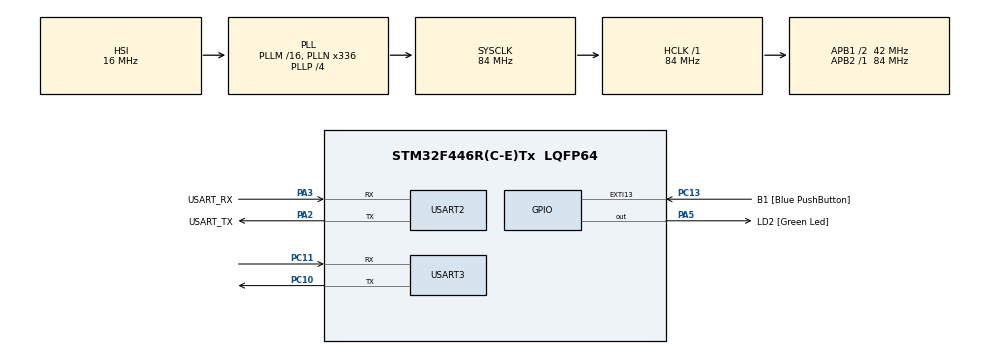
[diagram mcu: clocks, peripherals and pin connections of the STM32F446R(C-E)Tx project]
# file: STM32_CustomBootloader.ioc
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Mcu.Family=STM32F4
Mcu.Name=STM32F446R(C-E)Tx
Mcu.Package=LQFP64
NVIC.PriorityGroup=NVIC_PRIORITYGROUP_0
PA13.GPIO_Label=TMS
PA13.Mode=Serial_Wire
PA13.Signal=SYS_JTMS-SWDIO
PA14.GPIO_Label=TCK
PA14.Mode=Serial_Wire
PA14.Signal=SYS_JTCK-SWCLK
PA2.GPIO_Label=USART_TX
PA2.Mode=Asynchronous
PA2.Signal=USART2_TX
PA3.GPIO_Label=USART_RX
PA3.Mode=Asynchronous
PA3.Signal=USART2_RX
PA5.GPIO_Label=LD2 [Green Led]
PA5.Signal=GPIO_Output
PB3.GPIO_Label=SWO
PB3.Signal=SYS_JTDO-SWO
PC10.Mode=Asynchronous
PC10.Signal=USART3_TX
PC11.Mode=Asynchronous
PC11.Signal=USART3_RX
PC13.GPIO_Label=B1 [Blue PushButton]
PC13.GPIO_ModeDefaultEXTI=GPIO_MODE_IT_FALLING
PC13.Signal=GPXTI13
PC14-OSC32_IN.Mode=LSE-External-Oscillator
PC14-OSC32_IN.Signal=RCC_OSC32_IN
PC15-OSC32_OUT.Mode=LSE-External-Oscillator
PC15-OSC32_OUT.Signal=RCC_OSC32_OUT
PH0-OSC_IN.Mode=HSE-External-Oscillator
PH0-OSC_IN.Signal=RCC_OSC_IN
PH1-OSC_OUT.Mode=HSE-External-Oscillator
PH1-OSC_OUT.Signal=RCC_OSC_OUT
ProjectManager.HeapSize=0x200
ProjectManager.StackSize=0x400
ProjectManager.TargetToolchain=STM32CubeIDE
RCC.48MHZClocksFreq_Value=84000000
RCC.AHBFreq_Value=84000000
RCC.APB1CLKDivider=RCC_HCLK_DIV2
RCC.APB1Freq_Value=42000000
RCC.APB1TimFreq_Value=84000000
RCC.APB2Freq_Value=84000000
RCC.APB2TimFreq_Value=84000000
RCC.CortexFreq_Value=84000000
RCC.FLatency-AdvancedSettings=FLASH_LATENCY_2
RCC.HCLKFreq_Value=84000000
RCC.HSE_VALUE=8000000
RCC.HSI_VALUE=16000000
RCC.PLLN=336
RCC.PLLP=RCC_PLLP_DIV4
RCC.SYSCLKFreq_VALUE=84000000
RCC.SYSCLKSource=RCC_SYSCLKSOURCE_PLLCLK
RCC.USBFreq_Value=168000000
RCC.VCOOutputFreq_Value=336000000
USART2.VirtualMode=VM_ASYNC
USART3.VirtualMode=VM_ASYNC
VP_CRC_VS_CRC.Mode=CRC_Activate
board=NUCLEO-F446RE

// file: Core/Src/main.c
/* USER CODE BEGIN Header */
/**
  ******************************************************************************
  * @file           : main.c
  * @brief          : Main program body
  ******************************************************************************
  * @attention
  *
  * <h2><center>&copy; Copyright (c) 2021 STMicroelectronics.
  * All rights reserved.</center></h2>
  *
  * This software component is licensed by ST under BSD 3-Clause license,
  * the "License"; You may not use this file except in compliance with the
  * License. You may obtain a copy of the License at:
  *                        opensource.org/licenses/BSD-3-Clause
  *
  ******************************************************************************
  */
/* USER CODE END Header */
#include "main.h"

/* USER CODE BEGIN PTD */

/*
 * All the supported commands are packed here
 */
uint8_t supported_cmnds[] = {
		BL_GET_VER,
		BL_GET_HELP,
		BL_GET_RDP_STATUS,
		BL_GET_CID,
		BL_GO_TO_ADDR,
		BL_FLASH_ERASE,
		BL_MEM_WRITE,
		BL_EN_R_W_PROTECT,
		BL_MEM_READ,
		BL_MEM_WRITE
};

/* USER CODE END PTD */

/* USER CODE BEGIN PM */
#define DEBUG_SUPPORT
#define D_UART (&huart3)
#define C_UART (&huart2)

//#define BL_ACK	0xA5
//#define BL_NACK	0x5A

#define BL_Rx_LEN 200
uint8_t bl_rx_buffer[BL_Rx_LEN];

// Uncomment below line to enable formated printf support

/* USER CODE END PM */

CRC_HandleTypeDef hcrc;

UART_HandleTypeDef huart2;
UART_HandleTypeDef huart3;

void SystemClock_Config(void);
static void MX_GPIO_Init(void);
static void MX_USART2_UART_Init(void);
static void MX_USART3_UART_Init(void);
static void MX_CRC_Init(void);
/* USER CODE BEGIN PFP */

void  bootloader_uart_read_data();
void  bootloader_jump_to_user_app();

/* USER CODE END PFP */

/* USER CODE BEGIN 0 */

static void printMsg(char *format,...);

static void printMsg(char *format,...)
{
#ifdef DEBUG_SUPPORT
	char str[80];

	/*extract the arg list using VA APIs */
	va_list args;
	va_start(args, format);
	vsprintf(str, format, args);

	HAL_GPIO_WritePin(GPIOA, GPIO_PIN_5, RESET);
	HAL_GPIO_WritePin(GPIOA, GPIO_PIN_5, SET);
	HAL_Delay(10);
	HAL_GPIO_WritePin(GPIOA, GPIO_PIN_5, RESET);

	HAL_UART_Transmit(D_UART, (uint8_t *)str, strlen(str), HAL_MAX_DELAY);

	va_end(args);
#endif //DEBUG_SUPPORT
}

/* USER CODE END 0 */

int main(void)
{

  /* MCU Configuration--------------------------------------------------------*/

  /* Reset of all peripherals, Initializes the Flash interface and the Systick. */
  HAL_Init();

  /* Configure the system clock */
  //SystemClock_Config();

  /* Initialize all configured peripherals */
  MX_GPIO_Init();
  MX_USART2_UART_Init();
  MX_USART3_UART_Init();
  MX_CRC_Init();

  if( (HAL_GPIO_ReadPin(GPIOC, GPIO_PIN_13)) == GPIO_PIN_RESET)
  {
	  printMsg("\nBOOTLOADER JUMPING TO READ DATA\n\n\r");
	  bootloader_uart_read_data();

  }else{

	  printMsg("\nBOOTLOADER JUMPING TO USER APPLICATION\n\n\r");
	  bootloader_jump_to_user_app();
  }

}

void  bootloader_uart_read_data()
{

	uint8_t rcv_len = 0;
	while(1)
	{
		memset(bl_rx_buffer,0,200);

		//Here we will read and decode the commands coming from host
		//First Read Only one byte from the host, which is the "length" field of the command
		HAL_UART_Receive(C_UART, bl_rx_buffer, 1, HAL_MAX_DELAY);
		rcv_len = bl_rx_buffer[0];

		HAL_UART_Receive(C_UART, &bl_rx_buffer[1], rcv_len, HAL_MAX_DELAY);

		MX_CRC_Init();

		switch(bl_rx_buffer[1])
		{
		case BL_GET_VER :Bootloader_GET_VER(bl_rx_buffer);
						 break;

		case BL_GET_HELP:Bootloader_GET_HELP(bl_rx_buffer);
						 break;

		case BL_GET_CID:Bootloader_GET_CID(bl_rx_buffer);
						 break;

		case BL_GET_RDP_STATUS:Bootloader_GET_RDP_STATUS(bl_rx_buffer);
						 break;

		case BL_GO_TO_ADDR:Bootloader_GO_TO_ADDR(bl_rx_buffer);
						 break;

		case BL_FLASH_ERASE:Bootloader_FLASH_ERASE(bl_rx_buffer);
						 break;

		case BL_MEM_WRITE:Bootloader_MEM_WRITE(bl_rx_buffer);
						 break;

		case BL_EN_R_W_PROTECT:Bootloader_EN_R_W_PROTECT(bl_rx_buffer);
						 break;

		case BL_MEM_READ:Bootloader_MEM_READ(bl_rx_buffer);
						 break;

		case BL_READ_SECTOR_STATUS:Bootloader_READ_SECTOR_STATUS(bl_rx_buffer);
						 break;

		case BL_OTP_READ:Bootloader_OTP_READ(bl_rx_buffer);
						 break;

		case BL_DIS_R_W_PROTECT:Bootloader_DIS_R_W_PROTECT(bl_rx_buffer);
						 break;

		default : printMsg("BL_UART_READ : received invalid code");
		}
	}
}

/*
 * This code jumps to user application if the user button
 * is not pressed after reseting the board
 * Here we jump to FLASH_SECTOR2_BASE_ADDRESS as the Base Address
 * for the USER app
 */
void  bootloader_jump_to_user_app()
{
	//Function ptr to hold the address of the reset handler of the USER application
	void (*app_reset_handler)(void);
	printMsg("BL_DEBUG_MSG : Bootloader_jump_to_user_app\n\r");

	//1. Here we configure the MSP by reading the value stored at FLASH_SECTOR2_BASE_ADDRESS
	volatile uint32_t MSP_VALUE = *(volatile uint32_t *)FLASH_SECTOR2_BASE_ADDRESS;
	printMsg("BL_DEBUG_MSG : MSP value : %#x\n\r", MSP_VALUE);

	//2. Now we set the MSP to the value pointed to by FLASH_SECTOR2_BASE_ADDRESS using a CMSIS API
	__set_MSP(MSP_VALUE);

	/*
	 * 3. Now we fetch the RESET HANDLER fo the USER application
	 * from the location (FLASH_SECTOR2_BASE_ADDRESS + 4)
	 */
	volatile uint32_t RESET_HANDLER = *(uint32_t *)(FLASH_SECTOR2_BASE_ADDRESS + 4);
 	printMsg("BL_DEBUG_MSG : RESET HANDLER = %#x \n\r", RESET_HANDLER);

	app_reset_handler = (void *)RESET_HANDLER;   //(void *)*(uint32_t *)(FLASH_SECTOR2_BASE_ADDRESS + 4);  If other things don't work use this twerk

	//4. Now we jump to the USER application by calling the USER's RESET HANDLER
	//which in turn calls the USER application
	app_reset_handler();

}
/* USER CODE BEGIN 4 */

/***************************** Implementation of the Bootloader specified function calls ****************************************/

void Bootloader_GET_VER(uint8_t *pRxBuffer)
{
	uint8_t bl_version;

	//1. verify the checksum
	printMsg("BL_DEBUG_MSG : bootloader_handle_getver_cmd\n\r");

	//2.Total command packet length
	uint32_t packt_len = pRxBuffer[0] + 1;

	//3. Shell out CRC from host from the received buffer
	uint32_t Host_CRC = *((uint32_t *)(pRxBuffer + packt_len - 4));

	if((bootloader_verify_crc(pRxBuffer, packt_len - 4, Host_CRC)) == CRC_VERIFY_SUCCESS)
	{
		printMsg("BL_DEBUG_MSG : checksum success !!\n\r");

		//checksum is correct
		bootloader_send_ack(pRxBuffer[0], 1);
		bl_version = get_bootloader_version();

		printMsg("BL_DEBUG_MSG : BL_VER : %d %#x\n\r", bl_version, bl_version);
		bootloader_uart_write_data(&bl_version,1);

	}else{
		printMsg("BL_DEBUG_MSG : checksum fail !!\n\r");

		//checksum is wrong send nack
		bootloader_send_nack();
	}
}

void Bootloader_GET_HELP(uint8_t *pRxBuffer)
{
	//Send the number of commands supported by the bootloader

	printMsg("BL_DEBUG_MSG : bootloader_get_help\n\r");

	//1. Extract packet length
	uint32_t packt_len = pRxBuffer[0] + 1;

	//2. Extract the CRC sent by HOST
	uint32_t Host_CRC = *((uint32_t *)(pRxBuffer + packt_len - 4));

	//3. Verify CRC
	if(bootloader_verify_crc(pRxBuffer, packt_len - 4, Host_CRC) == CRC_VERIFY_SUCCESS)
	{
		//Checksum is correct
		printMsg("BL_DEBUG_MSG : checksum success !!\n\r");

		//Send ACK to HOST program
		bootloader_send_ack(*pRxBuffer, 10);

		bootloader_uart_write_data(supported_cmnds, sizeof(supported_cmnds));
	}else
	{
		//Checksum failure
		printMsg("BL_DEBUG_MSG : checksum fail !!\n\r");

		//Send NACK to HOST
		bootloader_send_nack();
	}

}

void Bootloader_GET_CID(uint8_t *pRxBuffer)
{
	//Send the number of commands supported by the bootloader

	printMsg("BL_DEBUG_MSG : bootloader_get_CID\n\r");

	//1. Extract packet length
	uint32_t packt_len = pRxBuffer[0] + 1;

	//2. Extract the CRC sent by HOST
	uint32_t Host_CRC = *((uint32_t *)(pRxBuffer + packt_len - 4));

	//3. Verify CRC
	if(bootloader_verify_crc(pRxBuffer, packt_len - 4, Host_CRC) == CRC_VERIFY_SUCCESS)
	{
		//Checksum is correct
		printMsg("BL_DEBUG_MSG : checksum success !!\n\r");

		//Send ACK to HOST program
		bootloader_send_ack(*pRxBuffer, 2);

		//Get the CID
		volatile uint32_t CID = get_CID_info();

		printMsg("BL_DEBUG_MSG : CID_Number : %ld %#x\n\r", CID, CID);

		//send to the host command
		bootloader_uart_write_data(&CID, 2);

	}else
	{
		//Checksum failure
		printMsg("BL_DEBUG_MSG : checksum fail !!\n\r");

		//Send NACK to HOST
		bootloader_send_nack();
	}

}
void Bootloader_GET_RDP_STATUS(uint8_t *pRxBuffer)
{
	//Send the number of commands supported by the bootloader

	printMsg("BL_DEBUG_MSG : bootloader_get_RDP_status\n\r");

	//1. Extract packet length
	uint32_t packt_len = pRxBuffer[0] + 1;

	//2. Extract the CRC sent by HOST
	uint32_t Host_CRC = *((uint32_t *)(pRxBuffer + packt_len - 4));

	//3. Verify CRC
	if(bootloader_verify_crc(pRxBuffer, packt_len - 4, Host_CRC) == CRC_VERIFY_SUCCESS)
	{
		//Checksum is correct
		printMsg("BL_DEBUG_MSG : checksum success !!\n\r");

		//Send ACK to HOST program
		bootloader_send_ack(*pRxBuffer, 1);

		//Get the CID
		volatile uint8_t RDP_Status = get_RDP_info();

		printMsg("BL_DEBUG_MSG : RDP_Number : %ld %#x\n\r", RDP_Status, RDP_Status);

		//send to the host command
		bootloader_uart_write_data(&RDP_Status, 1);

	}else
	{
		//Checksum failure
		printMsg("BL_DEBUG_MSG : checksum fail !!\n\r");

		//Send NACK to HOST
		bootloader_send_nack();
	}

}

void Bootloader_GO_TO_ADDR(uint8_t *pRxBuffer)
{
	//Send the number of commands supported by the bootloader
	printMsg("BL_DEBUG_MSG : bootloader_go_to_addr\n\r");

	//1. Extract packet length
	uint32_t packt_len = pRxBuffer[0] + 1;

	//2. Extract the CRC sent by HOST
	uint32_t Host_CRC = *((uint32_t *)(pRxBuffer + packt_len - 4));

	//3. Verify CRC
	if(bootloader_verify_crc(pRxBuffer, packt_len - 4, Host_CRC) == CRC_VERIFY_SUCCESS)
	{
		//Checksum is correct
		printMsg("BL_DEBUG_MSG : checksum success !!\n\r");

		//Send ACK to HOST program
		bootloader_send_ack(*pRxBuffer, 1);

		//shell out the address sent by HOST
		volatile uint32_t goto_addr = *((uint32_t*)(pRxBuffer + 2));

		printMsg("BL_DEBUG_MSG : Jump address %#x\n\r", goto_addr);

		//Check address validity; jump to address if address valid
		if(!check_validity(goto_addr))
		{
			uint8_t validity = (uint8_t)ADDRESS_VALID;
			bootloader_uart_write_data(&validity, 1);

			//address is valid
			printMsg("BL_DEBUG_MSG : Address valid !!\n\r");

			goto_addr += 1; //T-bit made 1 here

			void (*jump_to_addr)(void) = (void *)goto_addr;

			//jumping to address
			printMsg("BL_DEBUG_MSG : jumping to address\n\r");
			jump_to_addr();

			pRxBuffer[0] = 0;
			bootloader_uart_write_data(pRxBuffer, 1);

		}else
		{
			uint8_t validity = (uint8_t)ADDRESS_INVALID;
			bootloader_uart_write_data(&validity, 1);

			//address invalid
			printMsg("BL_DEBUG_MSG : Address invalid!!\n\r");
		}

	}else
	{
		//Checksum failure
		printMsg("BL_DEBUG_MSG : checksum fail !!\n\r");

		//Send NACK to HOST
		bootloader_send_nack();
	}

}
void Bootloader_FLASH_ERASE(uint8_t *pRxBuffer)
{
	//1. verify the checksum
	printMsg("BL_DEBUG_MSG : bootloader_FLASH_ERASE\n\r");

	//2.Total command packet length
	uint32_t packt_len = pRxBuffer[0] + 1;

	//3. Shell out CRC from host from the received buffer
	uint32_t Host_CRC = *((uint32_t *)(pRxBuffer + packt_len - 4));

	if((bootloader_verify_crc(pRxBuffer, packt_len - 4, Host_CRC)) == CRC_VERIFY_SUCCESS)
	{
		printMsg("BL_DEBUG_MSG : checksum success !!\n\r");

		//checksum is correct
		bootloader_send_ack(pRxBuffer[0], 1);

		uint32_t err_no;

		err_no = flash_eraser(pRxBuffer[2], pRxBuffer[3]);

		bootloader_uart_write_data(&err_no, sizeof(err_no));

		HAL_GPIO_TogglePin(GPIOA, GPIO_PIN_5);

	}else{
		printMsg("BL_DEBUG_MSG : checksum fail !!\n\r");

		//checksum is wrong send nack
		bootloader_send_nack();
	}

}
void Bootloader_MEM_WRITE(uint8_t *pRxBuffer)
{
	//Save the memory address in a variable
	uint32_t Base_mem_addr = *((uint32_t *)(pRxBuffer + 2));
	uint8_t payload_len = pRxBuffer[6];

	//1. verify the checksum
	printMsg("BL_DEBUG_MSG : bootloader_MEM_Write\n\r");

	//2.Total command packet length
	uint32_t packt_len = pRxBuffer[0] + 1;

	//3. Shell out CRC from host from the received buffer
	uint32_t Host_CRC = *((uint32_t *)(pRxBuffer + packt_len - 4));

	if((bootloader_verify_crc(pRxBuffer, packt_len - 4, Host_CRC)) == CRC_VERIFY_SUCCESS)
	{
		printMsg("BL_DEBUG_MSG : checksum success !!\n\r");

		//checksum is correct
		bootloader_send_ack(pRxBuffer[0], 1);

		if( !check_validity(Base_mem_addr) )
		{
			printMsg("BL_DEBUG_MSG : Address valid!!\n\r");

			HAL_GPIO_WritePin(GPIOA, GPIO_PIN_5, GPIO_PIN_SET);
			uint8_t return_code = memory_write(&pRxBuffer[7], Base_mem_addr, payload_len);
			HAL_GPIO_WritePin(GPIOA, GPIO_PIN_5, GPIO_PIN_RESET);

			return_code = 1;
			bootloader_uart_write_data(return_code, 1);
		}else
		{
			printMsg("BL_DEBUG_MSG : Address Invalid!!\n\r");

			pRxBuffer[0] = 0x1;
			bootloader_uart_write_data(pRxBuffer, 1);
		}

	}else{
		printMsg("BL_DEBUG_MSG : checksum fail !!\n\r");

		//checksum is wrong send nack
		bootloader_send_nack();
	}
}

void Bootloader_EN_R_W_PROTECT(uint8_t *pRxBuffer)
{

	//Send the number of commands supported by the bootloader
	printMsg("BL_DEBUG_MSG : Bootloader_EN_R_W_PROTECT\n\r");

	//1. Extract packet length
	uint32_t packt_len = pRxBuffer[0] + 1;

	//2. Extract the CRC sent by HOST
	uint32_t Host_CRC = *((uint32_t *)(pRxBuffer + packt_len - 4));

	//3. Verify CRC
	if(bootloader_verify_crc(pRxBuffer, packt_len - 4, Host_CRC) == CRC_VERIFY_SUCCESS)
	{
		//Checksum is correct
		printMsg("BL_DEBUG_MSG : checksum success !!\n\r");

		//Send ACK to HOST program
		bootloader_send_ack(*pRxBuffer, 1);

		//Enable R/W protection of the FLASH area (program OPTION bytes to 0xFF)
		uint8_t err_code = EN_R_W_Protect(pRxBuffer[2], pRxBuffer[3], 0);

		printMsg("BL_DEBUG_MSG : R_W_Protect enabled for : %d \n\r", pRxBuffer[2]);

		//send to the host command
		bootloader_uart_write_data(err_code, 1);

	}else
	{
		//Checksum failure
		printMsg("BL_DEBUG_MSG : checksum fail !!\n\r");

		//Send NACK to HOST
		bootloader_send_nack();
	}

}

void Bootloader_DIS_R_W_PROTECT(uint8_t *pRxBuffer)
{
	//Send the number of commands supported by the bootloader
	printMsg("BL_DEBUG_MSG : Bootloader_DIS_R_W_PROTECT\n\r");

	//1. Extract packet length
	uint32_t packt_len = pRxBuffer[0] + 1;

	//2. Extract the CRC sent by HOST
	uint32_t Host_CRC = *((uint32_t *)(pRxBuffer + packt_len - 4));

	//3. Verify CRC
	if(bootloader_verify_crc(pRxBuffer, packt_len - 4, Host_CRC) == CRC_VERIFY_SUCCESS)
	{
		//Checksum is correct
		printMsg("BL_DEBUG_MSG : checksum success !!\n\r");

		//Send ACK to HOST program
		bootloader_send_ack(*pRxBuffer, 1);

		//Enable R/W protection of the FLASH area (program OPTION bytes to 0xFF)
		uint8_t err_code = EN_R_W_Protect(pRxBuffer[2], pRxBuffer[3], 1);

		printMsg("BL_DEBUG_MSG : R_W_Protect enabled for : %d \n\r", pRxBuffer[2]);

		//send to the host command
		bootloader_uart_write_data(err_code, 1);

	}else
	{
		//Checksum failure
		printMsg("BL_DEBUG_MSG : checksum fail !!\n\r");

		//Send NACK to HOST
		bootloader_send_nack();
	}

}

void Bootloader_MEM_READ(uint8_t *pRxBuffer)
{

}
void Bootloader_READ_SECTOR_STATUS(uint8_t *pRxBuffer)
{

}
void Bootloader_OTP_READ(uint8_t *pRxBuffer)
{

}

/***********************************************************************************/

void bootloader_send_ack(uint8_t cmnd_code, uint8_t follow_len)
{
	//here we send 2 bytes.. first byte is ack and the second byte is len value
	uint8_t ack_buf[2];

	ack_buf[0] = BL_ACK;
	ack_buf[1] = follow_len;

	HAL_UART_Transmit(C_UART, ack_buf, 2, HAL_MAX_DELAY);
}

void bootloader_send_nack(void)
{
	//here we send nack in response to data invalidity from CRC
	uint8_t NACK[1];
	NACK[0] = (uint8_t)BL_NACK;
	HAL_UART_Transmit(C_UART, NACK, 1, HAL_MAX_DELAY);
}

uint8_t bootloader_verify_crc(uint8_t pData[], uint32_t len, uint32_t crc_host)
{

	MX_CRC_Init();

	volatile uint32_t CRCVal = 0x00000000;
	uint32_t accumulated_data = 0;

	for(uint8_t i=0; i<len; i++)
	{
		accumulated_data = pData[i];
		CRCVal = HAL_CRC_Accumulate(&hcrc, &accumulated_data, 1);
	}

	HAL_CRC_DeInit(&hcrc);

	if(CRCVal == crc_host)
	{
		return CRC_VERIFY_SUCCESS;
	}

		return CRC_VERIFY_FAILURE;

}

uint8_t get_bootloader_version(void)
{
	return BL_VERSION;
}

//This function is called to Send data to the HOST over the C_UART
void bootloader_uart_write_data(uint8_t *pRxBuffer, uint8_t len)
{
	HAL_UART_Transmit(C_UART, pRxBuffer, len, HAL_MAX_DELAY);
}

uint32_t get_CID_info()
{
	return (*DBGMCU_IDCODE);
}

//This function returns Read Protection Level of the OPTION bytes(16B)
uint8_t get_RDP_info()
{
	uint32_t RDP_status = *OPTION_BYTES_BASE_ADDRESS;

	return(RDP_status >> 8);
}

uint8_t EN_R_W_Protect(uint8_t sector_detail, uint8_t protection_mode, uint8_t DISABLE)
{
	//First unlock the OPTION Bytes to write to them
	HAL_FLASH_OB_Unlock();

	while( __HAL_FLASH_GET_FLAG(FLASH_FLAG_BSY) != RESET);

	if(DISABLE)
	{
		//Disable the WRITE protection ionly if the OPTCR bit is not SET that is
		//it is NOT In PCROP mode
		if( !(FLASH->OPTCR >> 31 & 0x1) )
		{
			//Clean SPRMOD bit in optcr reg
			FLASH->OPTCR &= ~(0x1 << 31);

			HAL_GPIO_TogglePin(GPIOA, GPIO_PIN_5);
			FLASH->OPTCR |= (0xFF << 16);
			FLASH->OPTCR |= (0x1 << 1);

			while( __HAL_FLASH_GET_FLAG(FLASH_FLAG_BSY) != RESET);
		}

		return 1;
	}

	if(protection_mode == WRITE_PROTECTION)
	{
		if( !(FLASH->OPTCR >> 31 & 0x1) )
		{
			//Clean SPRMOD bit in OPTCR reg
			FLASH->OPTCR &= ~(0x1 << 31);

			HAL_GPIO_TogglePin(GPIOA, GPIO_PIN_5);
			FLASH->OPTCR &= ~(sector_detail << 16);

			FLASH->OPTCR |= (0x1 << 1);

			while( __HAL_FLASH_GET_FLAG(FLASH_FLAG_BSY) != RESET);

		}else
		{
			//OPTCR is in PCROP mode follow accordingly
		}

	}else if(protection_mode == READ_WRITE_PROTECTION)
	{
		//Enable PCROP in OPTCR reg
		FLASH->OPTCR |= (0x1 << 31);

		HAL_GPIO_TogglePin(GPIOA, GPIO_PIN_5);
		FLASH->OPTCR |= (0X1 << sector_detail);
		FLASH->OPTCR |= (0x1 << 1);

		while( __HAL_FLASH_GET_FLAG(FLASH_FLAG_BSY) != RESET);
	}

	HAL_FLASH_OB_Lock();

	return 1;
}

uint8_t check_validity(uint32_t addr)
{
	/*
	 * valid addresses :-
	 *
	 * FLASH
	 * SRAM1 && SRAM2
	 * RAM
	 * BACKUP SRAM
	 * External FLASH
	 */

	if(addr >= FLASH_BASE && addr <= FLASH_END)
	{
		return ADDRESS_VALID;

	}else if(addr >= SRAM1_BASE && addr <= SRAM1_END)
	{
		return ADDRESS_VALID;

	}else if(addr >= SRAM2_BASE && addr <= SRAM2_END)
	{
		return ADDRESS_VALID;

	}else if(addr >= BKPSRAM_BASE && addr <= BKPSRAM_END)
	{
		return ADDRESS_VALID;

	}

	return ADDRESS_INVALID;

}

uint32_t flash_eraser(uint8_t sector_num, uint8_t num_of_sector)
{
		FLASH_EraseInitTypeDef pEraseInit;
		uint32_t SectorError;

		if(sector_num == 0xFF)
		{
			pEraseInit.TypeErase = FLASH_TYPEERASE_MASSERASE;
			pEraseInit.Sector	 = 0;
			pEraseInit.NbSectors = 8;

		}else
		{
			pEraseInit.TypeErase = FLASH_TYPEERASE_SECTORS;
			pEraseInit.Sector	 = sector_num;
			pEraseInit.NbSectors = num_of_sector;

		}

		pEraseInit.VoltageRange = FLASH_VOLTAGE_RANGE_3;

		if(sector_num > 8 && sector_num != 0xFF) return INVALID_SECTOR;

		HAL_FLASH_Unlock();
		uint32_t err_code = HAL_FLASHEx_Erase(&pEraseInit, &SectorError);
		HAL_FLASH_Lock();

		printMsg("BL_DEBUG_MSG : Error_Code : %#x \n\r", err_code);

		return err_code;
}

uint8_t memory_write(uint8_t *buffer, uint32_t Base_addr, uint8_t payload_len)
{
	volatile uint8_t err_code, i=0;

	//Unlock the FLASH module
	HAL_FLASH_Unlock();

	while(i < payload_len)
	err_code = HAL_FLASH_Program(FLASH_TYPEPROGRAM_BYTE, Base_addr++, buffer[i++]);

	//Lock the flash module to prevent furhter damage
	HAL_FLASH_Lock();

	return err_code;
}

/**
  * @brief System Clock Configuration
  * @retval None
  */
void SystemClock_Config(void)
{
  RCC_OscInitTypeDef RCC_OscInitStruct = {0};
  RCC_ClkInitTypeDef RCC_ClkInitStruct = {0};

  /** Configure the main internal regulator output voltage
  */
  __HAL_RCC_PWR_CLK_ENABLE();
  __HAL_PWR_VOLTAGESCALING_CONFIG(PWR_REGULATOR_VOLTAGE_SCALE3);
  /** Initializes the RCC Oscillators according to the specified parameters
  * in the RCC_OscInitTypeDef structure.
  */
  RCC_OscInitStruct.OscillatorType = RCC_OSCILLATORTYPE_HSI;
  RCC_OscInitStruct.HSIState = RCC_HSI_ON;
  RCC_OscInitStruct.HSICalibrationValue = RCC_HSICALIBRATION_DEFAULT;
  RCC_OscInitStruct.PLL.PLLState = RCC_PLL_ON;
  RCC_OscInitStruct.PLL.PLLSource = RCC_PLLSOURCE_HSI;
  RCC_OscInitStruct.PLL.PLLM = 16;
  RCC_OscInitStruct.PLL.PLLN = 336;
  RCC_OscInitStruct.PLL.PLLP = RCC_PLLP_DIV4;
  RCC_OscInitStruct.PLL.PLLQ = 2;
  RCC_OscInitStruct.PLL.PLLR = 2;
  if (HAL_RCC_OscConfig(&RCC_OscInitStruct) != HAL_OK)
  {
    Error_Handler();
  }
  /** Initializes the CPU, AHB and APB buses clocks
  */
  RCC_ClkInitStruct.ClockType = RCC_CLOCKTYPE_HCLK|RCC_CLOCKTYPE_SYSCLK
                              |RCC_CLOCKTYPE_PCLK1|RCC_CLOCKTYPE_PCLK2;
  RCC_ClkInitStruct.SYSCLKSource = RCC_SYSCLKSOURCE_PLLCLK;
  RCC_ClkInitStruct.AHBCLKDivider = RCC_SYSCLK_DIV1;
  RCC_ClkInitStruct.APB1CLKDivider = RCC_HCLK_DIV2;
  RCC_ClkInitStruct.APB2CLKDivider = RCC_HCLK_DIV1;

  if (HAL_RCC_ClockConfig(&RCC_ClkInitStruct, FLASH_LATENCY_2) != HAL_OK)
  {
    Error_Handler();
  }
}

/**
  * @brief CRC Initialization Function
  * @param None
  * @retval None
  */
static void MX_CRC_Init(void)
{

  /* USER CODE BEGIN CRC_Init 0 */

  /* USER CODE END CRC_Init 0 */

  /* USER CODE BEGIN CRC_Init 1 */

  /* USER CODE END CRC_Init 1 */
  hcrc.Instance = CRC;
  if (HAL_CRC_Init(&hcrc) != HAL_OK)
  {
    Error_Handler();
  }
  /* USER CODE BEGIN CRC_Init 2 */

  /* USER CODE END CRC_Init 2 */

}

/**
  * @brief USART2 Initialization Function
  * @param None
  * @retval None
  */
static void MX_USART2_UART_Init(void)
{

  /* USER CODE BEGIN USART2_Init 0 */

  /* USER CODE END USART2_Init 0 */

  /* USER CODE BEGIN USART2_Init 1 */

  /* USER CODE END USART2_Init 1 */
  huart2.Instance = USART2;
  huart2.Init.BaudRate = 115200;
  huart2.Init.WordLength = UART_WORDLENGTH_8B;
  huart2.Init.StopBits = UART_STOPBITS_1;
  huart2.Init.Parity = UART_PARITY_NONE;
  huart2.Init.Mode = UART_MODE_TX_RX;
  huart2.Init.HwFlowCtl = UART_HWCONTROL_NONE;
  huart2.Init.OverSampling = UART_OVERSAMPLING_16;
  if (HAL_UART_Init(&huart2) != HAL_OK)
  {
    Error_Handler();
  }
  /* USER CODE BEGIN USART2_Init 2 */

  /* USER CODE END USART2_Init 2 */

}

/**
  * @brief USART3 Initialization Function
  * @param None
  * @retval None
  */
static void MX_USART3_UART_Init(void)
{

  /* USER CODE BEGIN USART3_Init 0 */

  /* USER CODE END USART3_Init 0 */

  /* USER CODE BEGIN USART3_Init 1 */

  /* USER CODE END USART3_Init 1 */
  huart3.Instance = USART3;
  huart3.Init.BaudRate = 115200;
  huart3.Init.WordLength = UART_WORDLENGTH_8B;
  huart3.Init.StopBits = UART_STOPBITS_1;
  huart3.Init.Parity = UART_PARITY_NONE;
  huart3.Init.Mode = UART_MODE_TX_RX;
  huart3.Init.HwFlowCtl = UART_HWCONTROL_NONE;
  huart3.Init.OverSampling = UART_OVERSAMPLING_16;
  if (HAL_UART_Init(&huart3) != HAL_OK)
  {
    Error_Handler();
  }
  /* USER CODE BEGIN USART3_Init 2 */

  /* USER CODE END USART3_Init 2 */

}

/**
  * @brief GPIO Initialization Function
  * @param None
  * @retval None
  */
static void MX_GPIO_Init(void)
{
  GPIO_InitTypeDef GPIO_InitStruct = {0};

  /* GPIO Ports Clock Enable */
  __HAL_RCC_GPIOC_CLK_ENABLE();
  __HAL_RCC_GPIOA_CLK_ENABLE();
  __HAL_RCC_GPIOB_CLK_ENABLE();

  /*Configure GPIO pin Output Level */
  HAL_GPIO_WritePin(LD2_GPIO_Port, LD2_Pin, GPIO_PIN_RESET);

  /*Configure GPIO pin : B1_Pin */
  GPIO_InitStruct.Pin = B1_Pin;
  GPIO_InitStruct.Mode = GPIO_MODE_INPUT;
  GPIO_InitStruct.Pull = GPIO_PULLUP;
  HAL_GPIO_Init(B1_GPIO_Port, &GPIO_InitStruct);

  /*Configure GPIO pin : LD2_Pin */
  GPIO_InitStruct.Pin = LD2_Pin;
  GPIO_InitStruct.Mode = GPIO_MODE_OUTPUT_PP;
  GPIO_InitStruct.Pull = GPIO_NOPULL;
  GPIO_InitStruct.Speed = GPIO_SPEED_FREQ_LOW;
  HAL_GPIO_Init(LD2_GPIO_Port, &GPIO_InitStruct);

}

/* USER CODE END 4 */

void Error_Handler(void)
{
  __disable_irq();
  while (1)
  {
  }
}

/************************ (C) COPYRIGHT STMicroelectronics *****END OF FILE****/
